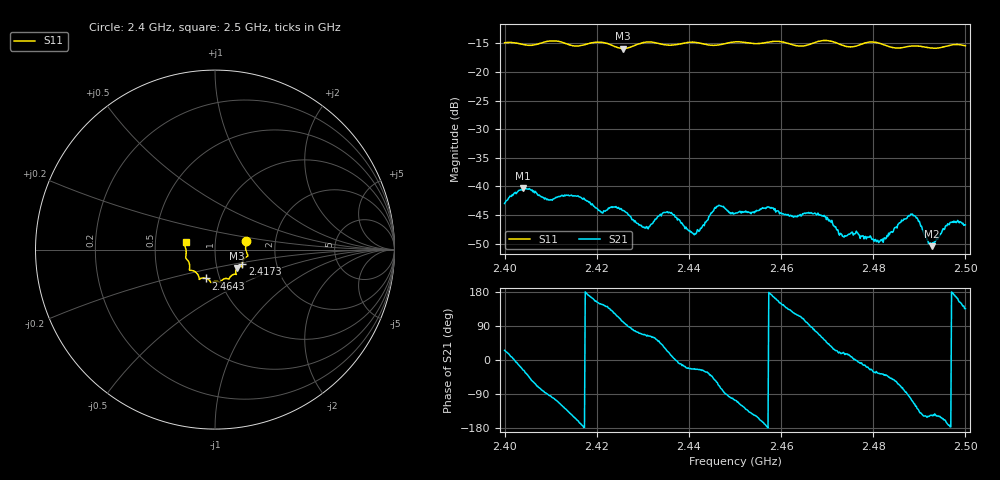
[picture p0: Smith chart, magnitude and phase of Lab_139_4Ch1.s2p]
# Hz S RI R 50
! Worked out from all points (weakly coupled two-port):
!   601 points, 2.4 GHz to 2.5 GHz, reference 50 ohm
!   highest |S21| = -40.29 dB at 2.404 GHz (marker M1); lowest = -50.4 dB at 2.4927 GHz (marker M2)
!   lowest |S11| = -15.9 dB at 2.4257 GHz (marker M3), VSWR 1.38, Z = 62.5 - j13.1 ohm
!   |S11| at or under -10 dB: start of sweep to end of sweep
!   S12 and S22 are empty: the file has one direction only
!   S11 on the Smith chart (normalised r, x): 2.4 GHz: 1.41, +0.14; 2.4173 GHz: 1.34, -0.23; 2.4643 GHz: 0.86, -0.28; 2.5 GHz: 0.72, +0.06
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2.4e9  0.173 0.049  0.00641 0.00306  0 0  0 0
2.404e9  0.1719 0.0254  0.00864 -0.00434  0 0  0 0
2.409667e9  0.183 -0.0321  -0.000489 -0.00762  0 0  0 0
2.416667e9  0.1528 -0.0751  -0.00784 -0.00128  0 0  0 0
2.417333e9  0.1519 -0.0824  -0.00777 -0.000224  0 0  0 0
2.420833e9  0.1539 -0.0967  -0.00511 0.00315  0 0  0 0
2.425667e9  0.1229 -0.1025  -0.00121 0.00605  0 0  0 0
2.430667e9  0.1188 -0.138  0.00179 0.00393  0 0  0 0
2.433333e9  0.1126 -0.1372  0.00356 0.00417  0 0  0 0
2.436333e9  0.0916 -0.1451  0.00572 0.000963  0 0  0 0
2.441167e9  0.0769 -0.1647  0.00348 -0.00148  0 0  0 0
2.446167e9  0.0461 -0.1653  0.00339 -0.00576  0 0  0 0
2.45e9  0.0295 -0.1809  -0.00166 -0.00555  0 0  0 0
2.457333e9  -0.016 -0.1817  -0.00663 0.000204  0 0  0 0
2.464333e9  -0.05 -0.1604  -0.00217 0.00506  0 0  0 0
2.466667e9  -0.0759 -0.1597  0.000299 0.00585  0 0  0 0
2.473667e9  -0.0954 -0.1397  0.00343 0.00112  0 0  0 0
2.483333e9  -0.1409 -0.0895  0.00275 -0.00277  0 0  0 0
2.488667e9  -0.162 -0.0472  -0.002 -0.00519  0 0  0 0
2.492667e9  -0.1606 -0.0177  -0.00248 -0.0017  0 0  0 0
2.496667e9  -0.1694 0.0245  -0.00482 -0.000321  0 0  0 0
2.5e9  -0.1637 0.0422  -0.00329 0.00323  0 0  0 0
